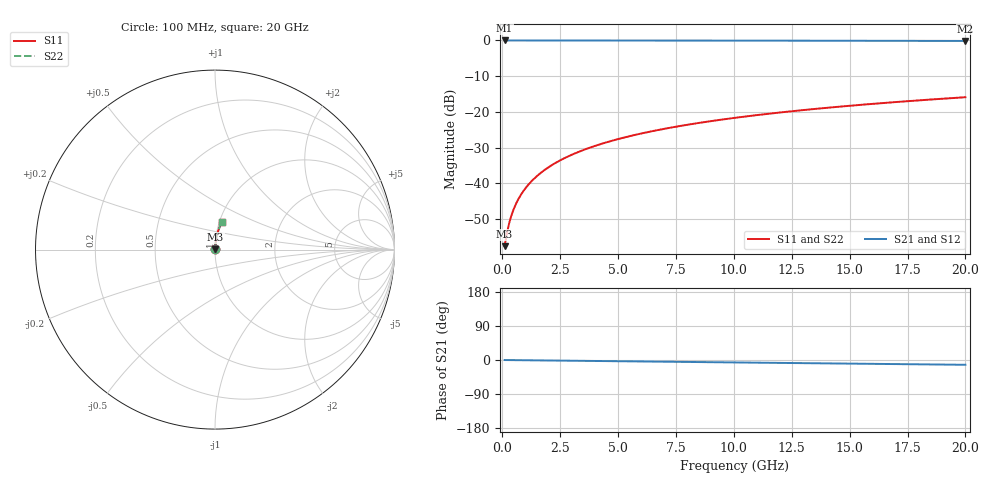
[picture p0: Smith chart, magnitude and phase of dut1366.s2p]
! Touchstone file exported from HFSS 2026.1.0
!  File:  C:/ffzhzh/LocalFiles/Ansys_Project_Files/temp_train_BSMRDL_1366_1783179274_43440.aedt
!  Generated:  11:35:46 PM Jul  4, 2026
!  Design:  BSMRDL
!  Project:  temp_train_BSMRDL_1366_1783179274_43440
! Variables:
!  h_bsmrdl = 3.55um
!  h_ox = 20um
!  h_rdl = 5um
!  h_sub = 80um
!  h_tmrdl = 5um
!  h_tsv = 80um
!  h_via = 3um
!  l_bsmrdl = 117.23um
!  l_sub = 517.23um
!  l_tmrdl = 200um
!  m_sub = 200um
!  pitch = 51.18um
!  r_tsv = 6um
!  s_tmrdl = 10um
!  w_bsmrdl = 14.6um
!  w_sub = 500um
!  w_tmrdl = 12um
!  x_tsv_center1 = 206um
!  x_tsv_center2 = 337.83um
!  x_tsv_center3 = 549.83um
!  x_tsv_center4 = 681.66um
!  x_tsv_center5 = 893.66um
!  x_tsv_center6 = 1025.49um
# GHz S MA R 50.000000
! Terminal data exported
! Port[1] = BSM_RDL1_1_T1
! Port[2] = BSM_RDL1_1_T2
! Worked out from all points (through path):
!   200 points, 100 MHz to 20 GHz, reference 50 ohm
!   highest |S21| = -0.01 dB at 100 MHz (marker M1); lowest = -0.1 dB at 20 GHz (marker M2)
!   group delay of S21, straight-line fit = 1.75 ps
!   lowest |S11| = -57.6 dB at 100 MHz (marker M3), VSWR 1.00, Z = 50.1 + j0.087 ohm
!   |S11| at or under -10 dB: start of sweep to end of sweep
!   |S22| runs from -57.6 to -15.9 dB; largest |S21 - S12| = 4.7e-15
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0.1  0.001313 41.4  0.999 -0.1  0.999 -0.1  0.001313 41.4
! Gamma 0 0 0 0
! Port Impedance 50 0 50 0
0.2  0.002001 59.8  0.999 -0.1  0.999 -0.1  0.002001 59.8
0.3  0.002781 68.1  0.999 -0.2  0.999 -0.2  0.002781 68.1
0.4  0.003585 72.7  0.9989 -0.3  0.9989 -0.3  0.003585 72.7
0.5  0.004398 75.6  0.9989 -0.3  0.9989 -0.3  0.004398 75.6
0.6  0.005214 77.5  0.9989 -0.4  0.9989 -0.4  0.005214 77.5
0.8  0.006852 80.1  0.9989 -0.5  0.9989 -0.5  0.006852 80.1
1.1  0.00932 82.2  0.9988 -0.7  0.9988 -0.7  0.00932 82.2
1.5  0.01262 83.6  0.9987 -1.0  0.9987 -1.0  0.01262 83.6
1.8  0.01511 84.2  0.9987 -1.2  0.9987 -1.2  0.01511 84.2
2.1  0.01759 84.6  0.9986 -1.4  0.9986 -1.4  0.01759 84.6
2.7  0.02256 84.9  0.9984 -1.8  0.9984 -1.8  0.02256 84.9
3.5  0.02918 85.0  0.9982 -2.3  0.9982 -2.3  0.02918 85.0
4.2  0.03495 84.8  0.9979 -2.7  0.9979 -2.7  0.03495 84.8
5  0.04153 84.6  0.9975 -3.2  0.9975 -3.2  0.04153 84.6
5.9  0.0489 84.1  0.9971 -3.8  0.9971 -3.8  0.0489 84.1
6.8  0.05623 83.7  0.9965 -4.4  0.9965 -4.4  0.05623 83.7
8.3  0.06838 82.9  0.9955 -5.3  0.9955 -5.3  0.06838 82.9
10.1  0.08283 81.9  0.9941 -6.5  0.9941 -6.5  0.08283 81.9
13.4  0.109 79.9  0.9912 -8.5  0.9912 -8.5  0.109 79.9
16.7  0.1348 78.0  0.9876 -10.6  0.9876 -10.6  0.1348 78.0
20  0.1602 76.1  0.9835 -12.6  0.9835 -12.6  0.1602 76.1
